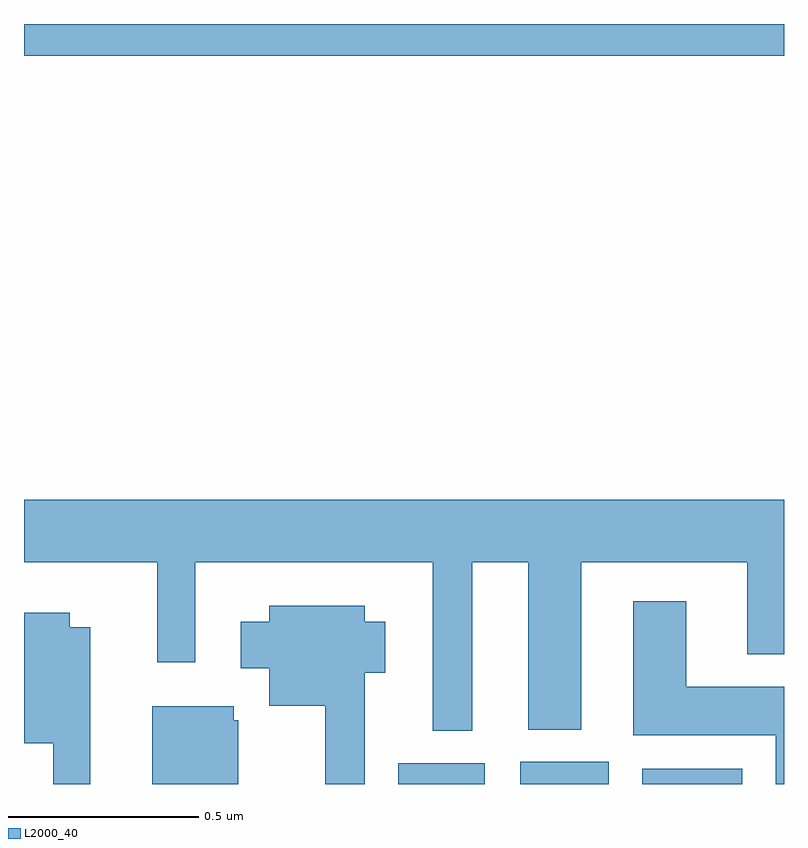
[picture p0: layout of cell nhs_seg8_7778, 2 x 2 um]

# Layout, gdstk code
import gdstk
lib = gdstk.Library(unit=1e-6, precision=1e-09)
def R(c, l, rs):  # rectangles x0, y0, x1, y1
    for r in rs: c.add(gdstk.rectangle(r[:2], r[2:], *l))
def P(c, l, *ps):  # polygons
    for p in ps: c.add(gdstk.Polygon(p, *l))
L2000_40 = (2000, 40)

nhs_seg8_7778 = lib.new_cell('nhs_seg8_7778')
R(nhs_seg8_7778, L2000_40, [(214.985,1131.9,215.212,1131.955), (215.306,1131.9,215.539,1131.958), (215.627,1131.9,215.89,1131.94), (214,1133.816,216,1133.9)])
P(nhs_seg8_7778, L2000_40, [(215.179,1132.484),(215.327,1132.484),(215.327,1132.043),(215.467,1132.043),(215.467,1132.484),(215.903,1132.484),(215.903,1132.241),(216,1132.241),(216,1132.648),(214,1132.648),(214,1132.484),(214.351,1132.484),(214.351,1132.221),(214.451,1132.221),(214.451,1132.484),(215.075,1132.484),(215.075,1132.04),(215.179,1132.04)],
  [(216,1132.156),(215.743,1132.156),(215.743,1132.381),(215.603,1132.381),(215.603,1132.028),(215.978,1132.028),(215.978,1131.9),(216,1131.9)],
  [(214.897,1132.193),(214.951,1132.193),(214.951,1132.327),(214.897,1132.327),(214.897,1132.369),(214.646,1132.369),(214.646,1132.327),(214.571,1132.327),(214.571,1132.205),(214.646,1132.205),(214.646,1132.106),(214.793,1132.106),(214.793,1131.9),(214.897,1131.9)],
  [(214.174,1132.312),(214.12,1132.312),(214.12,1132.351),(214,1132.351),(214,1132.007),(214.077,1132.007),(214.077,1131.9),(214.174,1131.9)],
  [(214.564,1132.068),(214.552,1132.068),(214.552,1132.105),(214.337,1132.105),(214.337,1131.9),(214.564,1131.9)])

lib.write_gds('nhs_seg8_7778.gds')
